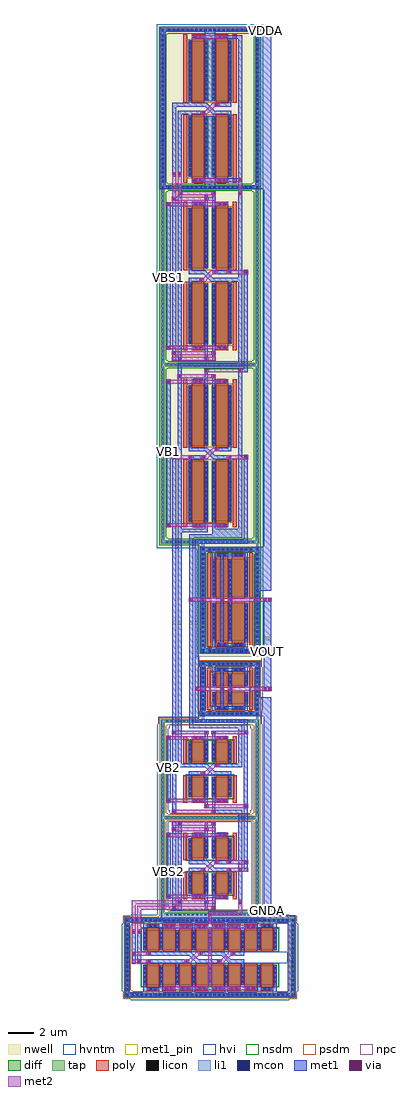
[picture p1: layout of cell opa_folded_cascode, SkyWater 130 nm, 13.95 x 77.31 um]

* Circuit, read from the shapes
.subckt opa_folded_cascode GNDA I_ONA I_ONB I_OPA I_OPB VB1 VB2 VBS1 VBS2 VDDA VOUT
XM1 GNDA GNDA GNDA GNDA sky130_fd_pr__nfet_g5v0d10v5 w=1.6 l=1 m=4
XM2 I_OPB monticelli_top_0/Bx GNDA GNDA sky130_fd_pr__nfet_g5v0d10v5 w=1.6 l=1 m=6
XM3 I_OPA monticelli_top_0/Bx GNDA GNDA sky130_fd_pr__nfet_g5v0d10v5 w=1.6 l=1 m=6
XM4 I_OPA VBS2 monticelli_top_0/B GNDA sky130_fd_pr__nfet_g5v0d10v5 w=1.6 l=1 m=2
XM5 I_OPB VBS2 monticelli_top_0/Bx GNDA sky130_fd_pr__nfet_g5v0d10v5 w=1.6 l=1 m=2
XM6 monticelli_top_0/B VB2 monticelli_top_0/A GNDA sky130_fd_pr__nfet_g5v0d10v5 w=1.6 l=1 m=2
XM7 monticelli_top_0/Bx VB2 monticelli_top_0/Ax GNDA sky130_fd_pr__nfet_g5v0d10v5 w=1.6 l=1 m=2
XM8 VOUT monticelli_top_0/B GNDA GNDA sky130_fd_pr__nfet_g5v0d10v5 w=1 l=1 m=4
XM9 monticelli_top_0/Ax VB1 monticelli_top_0/Bx VDDA sky130_fd_pr__pfet_g5v0d10v5 w=4.8 l=1 m=2
XM10 monticelli_top_0/A VB1 monticelli_top_0/B VDDA sky130_fd_pr__pfet_g5v0d10v5 w=4.8 l=1 m=2
XM11 I_ONA VBS1 monticelli_top_0/A VDDA sky130_fd_pr__pfet_g5v0d10v5 w=4.8 l=1 m=2
XM12 I_ONB VBS1 monticelli_top_0/Ax VDDA sky130_fd_pr__pfet_g5v0d10v5 w=4.8 l=1 m=2
XM13 VDDA monticelli_top_0/Ax I_ONA VDDA sky130_fd_pr__pfet_g5v0d10v5 w=4.8 l=1 m=2
XM14 VDDA monticelli_top_0/Ax I_ONB VDDA sky130_fd_pr__pfet_g5v0d10v5 w=4.8 l=1 m=2
XM15 VOUT monticelli_top_0/A VDDA VDDA sky130_fd_pr__pfet_g5v0d10v5 w=3 l=1 m=4
.ends

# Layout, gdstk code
from math import pi, radians
import gdstk
lib = gdstk.Library(unit=1e-6, precision=1e-09)
def R(c, l, rs):  # rectangles x0, y0, x1, y1
    for r in rs: c.add(gdstk.rectangle(r[:2], r[2:], *l))
def A(c, l, x, y, w, h, nx, ny, dx, dy):  # array of equal rectangles
    R(c, l, [(x+i*dx, y+j*dy, x+i*dx+w, y+j*dy+h) for i in range(nx) for j in range(ny)])
def P(c, l, *ps):  # polygons
    for p in ps: c.add(gdstk.Polygon(p, *l))
nwell = (64, 20)
diff = (65, 20)
tap = (65, 44)
poly = (66, 20)
licon = (66, 44)
li1 = (67, 20)
mcon = (67, 44)
met1_pin = (68, 16)
met1 = (68, 20)
via = (68, 44)
met2 = (69, 20)
hvi = (75, 20)
nsdm = (93, 44)
psdm = (94, 20)
npc = (95, 20)
hvntm = (125, 20)

sky130_fd_pr__pfet_g5v0d = lib.new_cell('sky130_fd_pr__pfet_g5v0d10v5_VQXVZH')
R(sky130_fd_pr__pfet_g5v0d, nwell, [(-1.615,-1.99,1.615,1.82)])
R(sky130_fd_pr__pfet_g5v0d, diff, [(-1.435,-1.68,1.435,1.32)])
R(sky130_fd_pr__pfet_g5v0d, poly, [(-1.145,-1.81,-0.145,1.805), (0.145,-1.81,1.145,1.805)])
A(sky130_fd_pr__pfet_g5v0d, licon, -1.375, -1.455, 0.17, 0.17, 3, 8, 1.29, 0.34)
R(sky130_fd_pr__pfet_g5v0d, licon, [(-0.9,1.555,-0.73,1.725), (-0.56,1.555,-0.39,1.725), (0.39,1.555,0.56,1.725), (0.73,1.555,0.9,1.725)])
A(sky130_fd_pr__pfet_g5v0d, li1, -1.375, -1.7, 0.17, 3.04, 3, 1, 1.29, 0)
R(sky130_fd_pr__pfet_g5v0d, li1, [(-1.145,1.555,-0.145,1.725), (0.145,1.555,1.145,1.725)])
A(sky130_fd_pr__pfet_g5v0d, mcon, -1.375, -1.525, 0.17, 0.17, 3, 8, 1.29, 0.36)
R(sky130_fd_pr__pfet_g5v0d, mcon, [(-0.91,1.555,-0.74,1.725), (-0.55,1.555,-0.38,1.725), (0.38,1.555,0.55,1.725), (0.74,1.555,0.91,1.725)])
A(sky130_fd_pr__pfet_g5v0d, met1, -1.405, -1.68, 0.23, 3, 3, 1, 1.29, 0)
R(sky130_fd_pr__pfet_g5v0d, met1, [(-1.02,1.525,-0.27,1.755), (0.27,1.525,1.02,1.755)])
R(sky130_fd_pr__pfet_g5v0d, hvi, [(-1.615,-1.99,1.615,-1.865), (-1.62,-1.865,1.62,1.505), (-1.615,1.505,1.615,1.82)])
R(sky130_fd_pr__pfet_g5v0d, psdm, [(-1.56,-1.805,1.56,1.445)])
R(sky130_fd_pr__pfet_g5v0d, npc, [(-1,1.455,-0.29,1.825), (0.29,1.455,1,1.825)])

out_pcell_2 = lib.new_cell('out_pcell_2')
R(out_pcell_2, tap, [(-0.94,0.06,-0.64,3.92), (3.36,0.06,3.66,3.92), (-0.94,3.92,3.66,4.22)])
R(out_pcell_2, poly, [(-0.45,0.165,-0.15,3.78), (2.87,0.165,3.17,3.78)])
R(out_pcell_2, li1, [(-0.875,0.06,-0.705,3.985), (3.425,0.06,3.595,3.985), (-0.875,3.985,3.595,4.155)])
R(out_pcell_2, met1, [(-0.99,0.06,-0.59,3.87), (3.31,0.06,3.71,3.87), (-0.045,2.935,0.185,3.87), (2.535,3.295,2.765,3.87), (1.09,3.5,1.63,3.73), (-0.99,3.87,3.71,4.27)])
R(out_pcell_2, hvi, [(-1.21,-0.49,-0.37,-0.015), (3.09,-0.49,3.93,-0.015), (-1.21,-0.015,-0.255,0.11), (2.975,-0.015,3.93,0.11), (-1.21,0.11,-0.26,3.48), (2.98,0.11,3.93,3.48), (-1.21,3.48,-0.255,3.735), (2.975,3.48,3.93,3.735), (-1.125,3.735,3.845,4.405)])
R(out_pcell_2, nsdm, [(-1.065,-0.065,-0.515,3.795), (3.235,-0.065,3.785,3.795), (-1.065,3.795,3.785,4.345)])
out_pcell_2.add(gdstk.Reference(sky130_fd_pr__pfet_g5v0d, (1.36,1.975)))

out_pcell = lib.new_cell('out_pcell')
R(out_pcell, nwell, [(2.765,-1.66,8.025,7.32)])
R(out_pcell, tap, [(3.46,-1.265,7.33,-1.095), (3.16,-0.965,3.33,6.625), (7.46,-0.965,7.63,6.625), (3.46,6.755,7.33,6.925)])
A(out_pcell, licon, 3.61, -1.265, 0.17, 0.17, 11, 2, 0.34, 8.02)
A(out_pcell, licon, 3.16, -0.825, 0.17, 0.17, 1, 22, 0, 0.34)
A(out_pcell, licon, 7.46, -0.825, 0.17, 0.17, 1, 22, 0, 0.34)
R(out_pcell, li1, [(3.16,-1.265,7.63,-1.095), (3.16,-1.095,3.33,6.755), (7.46,-1.095,7.63,6.755), (3.16,6.755,7.63,6.925)])
A(out_pcell, mcon, 3.69, -1.265, 0.17, 0.17, 10, 2, 0.36, 8.02)
A(out_pcell, mcon, 3.16, -0.855, 0.17, 0.17, 1, 21, 0, 0.36)
A(out_pcell, mcon, 7.46, -0.855, 0.17, 0.17, 1, 21, 0, 0.36)
R(out_pcell, mcon, [(3.16,-1.265,3.33,-1.095), (7.46,-1.265,7.63,-1.095), (3.16,6.755,3.33,6.925), (7.46,6.755,7.63,6.925)])
R(out_pcell, met1, [(3.16,-1.265,7.63,-1.095), (3.16,-1.095,3.33,6.755), (7.46,-1.095,7.63,6.755), (4.6,-0.84,4.9,6.5), (5.28,2.595,5.51,2.685), (5.215,2.685,5.575,2.985), (5.28,2.985,5.51,3.065), (3.16,6.755,7.63,6.925)])
R(out_pcell, via, [(4.675,2.76,4.825,2.91), (5.32,2.76,5.47,2.91)])
R(out_pcell, met2, [(3.045,2.685,4.93,2.985), (5.215,2.685,7.745,2.985)])
R(out_pcell, hvi, [(2.765,-1.66,8.025,7.32)])
R(out_pcell, nsdm, [(3.335,-1.39,7.455,-1.22), (3.165,-1.22,7.625,-1.09), (3.035,-1.09,7.755,-0.97), (3.035,-0.97,3.625,-0.84), (7.165,-0.97,7.755,-0.84), (3.035,-0.84,3.455,6.5), (7.335,-0.84,7.755,6.5), (3.035,6.5,3.625,6.63), (7.165,6.5,7.755,6.63), (3.035,6.63,7.755,6.75), (3.165,6.75,7.625,6.88), (3.335,6.88,7.455,7.05)])
R(out_pcell, psdm, [(3.835,2.72,6.955,2.94)])
out_pcell.add(gdstk.Reference(out_pcell_2, (4.035,2.89), x_reflection=True))
out_pcell.add(gdstk.Reference(out_pcell_2, (4.035,2.77)))

sky130_fd_pr__nfet_g5v0d = lib.new_cell('sky130_fd_pr__nfet_g5v0d10v5_7VNVKF')
R(sky130_fd_pr__nfet_g5v0d, diff, [(-1.435,-0.655,1.435,0.345)])
R(sky130_fd_pr__nfet_g5v0d, poly, [(-1.145,-0.785,-0.145,0.785), (0.145,-0.785,1.145,0.785)])
A(sky130_fd_pr__nfet_g5v0d, licon, -1.375, -0.58, 0.17, 0.17, 3, 3, 1.29, 0.34)
R(sky130_fd_pr__nfet_g5v0d, licon, [(-0.9,0.535,-0.73,0.705), (-0.56,0.535,-0.39,0.705), (0.39,0.535,0.56,0.705), (0.73,0.535,0.9,0.705)])
A(sky130_fd_pr__nfet_g5v0d, li1, -1.375, -0.675, 0.17, 1.04, 3, 1, 1.29, 0)
R(sky130_fd_pr__nfet_g5v0d, li1, [(-1.145,0.535,-0.145,0.705), (0.145,0.535,1.145,0.705)])
A(sky130_fd_pr__nfet_g5v0d, mcon, -1.375, -0.42, 0.17, 0.17, 3, 2, 1.29, 0.36)
R(sky130_fd_pr__nfet_g5v0d, mcon, [(-0.91,0.535,-0.74,0.705), (-0.55,0.535,-0.38,0.705), (0.38,0.535,0.55,0.705), (0.74,0.535,0.91,0.705)])
A(sky130_fd_pr__nfet_g5v0d, met1, -1.405, -0.655, 0.23, 1, 3, 1, 1.29, 0)
R(sky130_fd_pr__nfet_g5v0d, met1, [(-1.02,0.505,-0.27,0.735), (0.27,0.505,1.02,0.735)])
R(sky130_fd_pr__nfet_g5v0d, hvi, [(-1.62,-0.84,1.62,0.53)])
R(sky130_fd_pr__nfet_g5v0d, nsdm, [(-1.56,-0.78,1.56,0.47)])
R(sky130_fd_pr__nfet_g5v0d, npc, [(-1,0.435,-0.29,0.805), (0.29,0.435,1,0.805)])
R(sky130_fd_pr__nfet_g5v0d, hvntm, [(-1.62,-0.84,1.62,0.53)])

out_ncell_2 = lib.new_cell('out_ncell_2')
R(out_ncell_2, tap, [(-0.94,0.06,-0.64,1.89), (3.36,0.06,3.66,1.89), (-0.94,1.89,3.66,2.19)])
R(out_ncell_2, poly, [(-0.45,0.165,-0.15,1.735), (2.87,0.165,3.17,1.735)])
R(out_ncell_2, li1, [(-0.875,0.06,-0.705,1.955), (3.425,0.06,3.595,1.955), (-0.875,1.955,3.595,2.125)])
R(out_ncell_2, met1, [(-0.99,0.06,-0.59,1.84), (3.31,0.06,3.71,1.84), (-0.045,1.285,0.185,1.84), (2.535,1.295,2.765,1.84), (1.09,1.455,1.63,1.685), (-0.99,1.84,3.71,2.24)])
R(out_ncell_2, hvi, [(-1.21,-0.43,-0.37,0.11), (3.09,-0.43,3.93,0.11), (-1.21,0.11,-0.26,1.48), (2.98,0.11,3.93,1.48), (-1.21,1.48,3.93,1.705), (-1.125,1.705,3.845,2.375)])
R(out_ncell_2, psdm, [(-1.065,-0.065,-0.515,1.765), (3.235,-0.065,3.785,1.765), (-1.065,1.765,3.785,2.315)])
out_ncell_2.add(gdstk.Reference(sky130_fd_pr__nfet_g5v0d, (1.36,0.95)))

out_ncell = lib.new_cell('out_ncell')
R(out_ncell, tap, [(0.21,-2.075,4.08,-1.905), (-0.09,-1.775,0.08,1.755), (4.21,-1.775,4.38,1.755), (0.21,1.885,4.08,2.055)])
A(out_ncell, licon, 0.36, -2.075, 0.17, 0.17, 11, 2, 0.34, 3.96)
A(out_ncell, licon, -0.09, -1.625, 0.17, 0.17, 1, 10, 0, 0.34)
A(out_ncell, licon, 4.21, -1.625, 0.17, 0.17, 1, 10, 0, 0.34)
R(out_ncell, li1, [(-0.09,-2.075,4.38,-1.905), (-0.09,-1.905,0.08,1.885), (4.21,-1.905,4.38,1.885), (-0.09,1.885,4.38,2.055)])
A(out_ncell, mcon, -0.09, -2.075, 0.17, 0.17, 1, 12, 0, 0.36)
A(out_ncell, mcon, 0.44, -2.075, 0.17, 0.17, 10, 2, 0.36, 3.96)
A(out_ncell, mcon, 4.21, -2.075, 0.17, 0.17, 1, 12, 0, 0.36)
R(out_ncell, met1, [(-0.09,-2.075,4.38,-1.905), (-0.09,-1.905,0.08,1.885), (4.21,-1.905,4.38,1.885), (1.35,-1.635,1.65,1.615), (2.03,-0.245,2.26,-0.16), (1.965,-0.16,2.325,0.14), (2.03,0.14,2.26,0.225), (-0.09,1.885,4.38,2.055)])
R(out_ncell, via, [(1.425,-0.085,1.575,0.065), (2.07,-0.085,2.22,0.065)])
R(out_ncell, met2, [(-0.205,-0.16,1.68,0.14), (1.965,-0.16,4.495,0.14)])
R(out_ncell, hvi, [(-0.275,-2.26,4.565,-1.72), (-0.425,-1.72,0.565,-1.42), (3.725,-1.72,4.715,-1.42), (-0.425,-1.42,0.415,-0.06), (3.875,-1.42,4.715,-0.06), (-0.425,-0.06,4.715,0.04), (-0.425,0.04,0.415,1.4), (3.875,0.04,4.715,1.4), (-0.425,1.4,0.565,1.7), (3.725,1.4,4.715,1.7), (-0.275,1.7,4.565,2.24)])
R(out_ncell, nsdm, [(0.585,-0.12,3.705,0.1)])
R(out_ncell, psdm, [(0.085,-2.2,4.205,-2.03), (-0.085,-2.03,4.375,-1.9), (-0.215,-1.9,4.505,-1.78), (-0.215,-1.78,0.375,-1.65), (3.915,-1.78,4.505,-1.65), (-0.215,-1.65,0.205,1.63), (4.085,-1.65,4.505,1.63), (-0.215,1.63,0.375,1.76), (3.915,1.63,4.505,1.76), (-0.215,1.76,4.505,1.88), (-0.085,1.88,4.375,2.01), (0.085,2.01,4.205,2.18)])
R(out_ncell, hvntm, [(0.525,-0.06,3.765,0.04)])
out_ncell.add(gdstk.Reference(out_ncell_2, (0.785,0.05), x_reflection=True))
out_ncell.add(gdstk.Reference(out_ncell_2, (0.785,-0.07)))

opa_output_stage = lib.new_cell('opa_output_stage')
R(opa_output_stage, met1, [(5.105,2.11,5.705,9.525)])
R(opa_output_stage, via, [(5.17,2.215,5.32,2.365), (5.49,2.215,5.64,2.365), (5.17,9.27,5.32,9.42), (5.49,9.27,5.64,9.42)])
R(opa_output_stage, met2, [(4.805,2.14,5.735,2.44), (4.805,9.195,5.735,9.495)])
R(opa_output_stage, hvi, [(-0.03,4.605,4.94,4.85)])
opa_output_stage.add(gdstk.Reference(out_pcell, (-2.94,6.51)))
opa_output_stage.add(gdstk.Reference(out_ncell, (0.31,2.3)))

c_sky130_fd_pr__pfet_g5v0d = lib.new_cell('sky130_fd_pr__pfet_g5v0d10v5_X66K38')
R(c_sky130_fd_pr__pfet_g5v0d, nwell, [(-0.97,-2.89,0.97,2.72)])
R(c_sky130_fd_pr__pfet_g5v0d, diff, [(-0.79,-2.58,0.79,2.22)])
R(c_sky130_fd_pr__pfet_g5v0d, poly, [(-0.5,-2.71,0.5,2.705)])
A(c_sky130_fd_pr__pfet_g5v0d, licon, -0.73, -2.475, 0.17, 0.17, 1, 14, 0, 0.34)
A(c_sky130_fd_pr__pfet_g5v0d, licon, 0.56, -2.475, 0.17, 0.17, 1, 14, 0, 0.34)
R(c_sky130_fd_pr__pfet_g5v0d, licon, [(-0.255,2.455,-0.085,2.625), (0.085,2.455,0.255,2.625)])
R(c_sky130_fd_pr__pfet_g5v0d, li1, [(-0.73,-2.6,-0.56,2.24), (0.56,-2.6,0.73,2.24), (-0.5,2.455,0.5,2.625)])
A(c_sky130_fd_pr__pfet_g5v0d, mcon, -0.73, -2.425, 0.17, 0.17, 1, 13, 0, 0.36)
A(c_sky130_fd_pr__pfet_g5v0d, mcon, 0.56, -2.425, 0.17, 0.17, 1, 13, 0, 0.36)
R(c_sky130_fd_pr__pfet_g5v0d, mcon, [(-0.265,2.455,-0.095,2.625), (0.095,2.455,0.265,2.625)])
R(c_sky130_fd_pr__pfet_g5v0d, met1, [(-0.76,-2.58,-0.53,2.22), (0.53,-2.58,0.76,2.22), (-0.375,2.425,0.375,2.655)])
R(c_sky130_fd_pr__pfet_g5v0d, hvi, [(-0.97,-2.89,0.97,-2.765), (-0.975,-2.765,0.975,2.405), (-0.97,2.405,0.97,2.72)])
R(c_sky130_fd_pr__pfet_g5v0d, psdm, [(-0.915,-2.705,0.915,2.345)])
R(c_sky130_fd_pr__pfet_g5v0d, npc, [(-0.355,2.355,0.355,2.725)])

monticelli_pmos_2 = lib.new_cell('monticelli_pmos_2')
R(monticelli_pmos_2, tap, [(-1.87,-0.31,-1.57,6.565), (5.62,-0.31,5.92,6.565), (-1.87,6.565,5.92,6.865)])
R(monticelli_pmos_2, poly, [(-0.08,0.15,0.22,5.565), (3.83,0.15,4.13,5.565)])
R(monticelli_pmos_2, li1, [(-1.805,-0.31,-1.635,6.63), (5.685,-0.31,5.855,6.63), (-1.805,6.63,5.855,6.8)])
R(monticelli_pmos_2, met1, [(1.615,5.08,1.845,5.63), (2.205,5.08,2.435,5.63), (-1.4,5.215,-1.1,5.545), (0.74,5.215,1.43,5.515), (2.62,5.215,3.31,5.515)])
R(monticelli_pmos_2, via, [(-1.325,5.29,-1.175,5.44), (0.85,5.29,1,5.44), (1.17,5.29,1.32,5.44), (2.73,5.29,2.88,5.44), (3.05,5.29,3.2,5.44)])
R(monticelli_pmos_2, met2, [(-1.43,5.215,3.31,5.515)])
R(monticelli_pmos_2, hvi, [(-2.14,-0.495,-1.3,6.38), (5.35,-0.495,6.19,6.38), (-2.055,6.38,6.105,7.05)])
R(monticelli_pmos_2, nsdm, [(-1.995,-0.435,-1.445,6.44), (5.495,-0.435,6.045,6.44), (-1.995,6.44,6.045,6.99)])
R(monticelli_pmos_2, psdm, [(2,0.155,2.05,5.205)])
monticelli_pmos_2.add(gdstk.Reference(c_sky130_fd_pr__pfet_g5v0d, (2.965,2.86)))
monticelli_pmos_2.add(gdstk.Reference(c_sky130_fd_pr__pfet_g5v0d, (1.085,2.86)))

cross_pair = lib.new_cell('cross_pair')
R(cross_pair, met1, [(180.57,9.275,180.93,9.575), (181.53,9.275,182.015,9.45), (181.355,9.45,182.015,9.575), (181.23,9.575,181.355,9.875), (180.57,9.875,181.055,10.175), (181.655,9.875,182.015,10.175)])
P(cross_pair, met1, [(181.055,10.175),(181.055,9.875),(181.355,9.875)],
  [(180.93,9.875),(181.23,9.875),(181.23,9.575)],
  [(181.355,9.875),(181.355,9.575),(181.655,9.575)],
  [(181.23,9.575),(181.355,9.575),(181.355,9.45)],
  [(181.355,9.45),(181.53,9.45),(181.53,9.275)])
R(cross_pair, via, [(180.675,9.35,180.825,9.5), (181.76,9.95,181.91,10.1)])
R(cross_pair, met2, [(180.57,9.275,181.055,9.575), (181.23,9.575,181.355,9.875), (181.355,9.875,182.015,10), (181.53,10,182.015,10.175)])
P(cross_pair, met2, [(181.355,10),(181.53,10),(181.53,10.175)],
  [(181.23,9.875),(181.355,9.875),(181.355,10)],
  [(180.93,9.575),(181.23,9.575),(181.23,9.875)],
  [(181.355,9.575),(181.355,9.875),(181.655,9.875)],
  [(181.055,9.275),(181.055,9.575),(181.355,9.575)])

monticelli_pmos = lib.new_cell('monticelli_pmos')
R(monticelli_pmos, nwell, [(15.045,-1.175,23.495,13.835)])
R(monticelli_pmos, tap, [(15.74,-0.78,22.8,-0.61), (15.44,-0.48,15.61,13.14), (22.93,-0.48,23.1,13.14), (15.74,13.27,22.8,13.44)])
A(monticelli_pmos, licon, 15.785, -0.78, 0.17, 0.17, 21, 2, 0.34, 14.05)
A(monticelli_pmos, licon, 15.44, -0.385, 0.17, 0.17, 1, 40, 0, 0.34)
A(monticelli_pmos, licon, 22.93, -0.385, 0.17, 0.17, 1, 40, 0, 0.34)
R(monticelli_pmos, li1, [(15.74,-0.78,22.8,-0.61), (15.44,-0.48,15.61,13.14), (22.93,-0.48,23.1,13.14), (15.74,13.27,22.8,13.44)])
R(monticelli_pmos, met1, [(16.285,0.065,16.585,6.21), (16.725,0.065,19.09,0.365), (19.45,0.065,21.815,0.365), (21.955,0.065,22.255,6.21), (16.725,0.365,17.025,12.625), (18.86,0.365,19.09,0.395), (19.45,0.365,19.68,0.39), (21.515,0.365,21.815,13.065), (15.845,0.475,16.145,12.185), (20.74,5.68,20.97,5.88), (17.57,5.74,17.8,5.88), (17.57,5.88,18.55,6.18), (19.705,5.88,20.97,6.18), (17.57,6.48,18.625,6.78), (19.995,6.48,20.97,6.78), (17.57,6.78,17.8,6.92), (20.74,6.78,20.97,6.92), (18.86,12.27,19.09,12.735), (19.45,12.27,19.68,12.295), (19.385,12.295,19.745,12.595), (18.795,12.735,19.155,13.035)])
R(monticelli_pmos, via, [(16.36,5.955,16.51,6.105), (17.675,5.955,17.825,6.105), (20.715,5.955,20.865,6.105), (22.03,5.955,22.18,6.105), (16.8,12.37,16.95,12.52), (19.49,12.37,19.64,12.52), (18.9,12.81,19.05,12.96), (21.59,12.81,21.74,12.96)])
R(monticelli_pmos, met2, [(16.255,5.88,17.93,6.18), (20.61,5.88,22.285,6.18), (16.695,12.295,19.745,12.595), (18.795,12.735,21.845,13.035)])
R(monticelli_pmos, hvi, [(15.045,-1.175,23.495,13.835)])
R(monticelli_pmos, nsdm, [(15.615,-0.905,22.925,-0.735), (15.445,-0.735,23.095,-0.605), (15.315,-0.605,23.225,-0.485), (15.315,-0.485,15.905,-0.355), (22.635,-0.485,23.225,-0.355), (15.315,-0.355,15.735,13.015), (22.805,-0.355,23.225,13.015), (15.315,13.015,15.905,13.145), (22.635,13.015,23.225,13.145), (15.315,13.145,23.225,13.265), (15.445,13.265,23.095,13.395), (15.615,13.395,22.925,13.565)])
monticelli_pmos.add(gdstk.Reference(monticelli_pmos_2, (17.245,6.02), x_reflection=True))
monticelli_pmos.add(gdstk.Reference(monticelli_pmos_2, (17.245,6.64)))
monticelli_pmos.add(gdstk.Reference(cross_pair, (-162.02,-3.395)))

c_sky130_fd_pr__nfet_g5v0d = lib.new_cell('sky130_fd_pr__nfet_g5v0d10v5_YZ2SRG')
R(c_sky130_fd_pr__nfet_g5v0d, diff, [(-0.79,-0.955,0.79,0.645)])
R(c_sky130_fd_pr__nfet_g5v0d, poly, [(-0.5,-1.085,0.5,1.085)])
A(c_sky130_fd_pr__nfet_g5v0d, licon, -0.73, -0.75, 0.17, 0.17, 1, 4, 0, 0.34)
A(c_sky130_fd_pr__nfet_g5v0d, licon, 0.56, -0.75, 0.17, 0.17, 1, 4, 0, 0.34)
R(c_sky130_fd_pr__nfet_g5v0d, licon, [(-0.255,0.835,-0.085,1.005), (0.085,0.835,0.255,1.005)])
R(c_sky130_fd_pr__nfet_g5v0d, li1, [(-0.73,-0.975,-0.56,0.665), (0.56,-0.975,0.73,0.665), (-0.5,0.835,0.5,1.005)])
A(c_sky130_fd_pr__nfet_g5v0d, mcon, -0.73, -0.78, 0.17, 0.17, 1, 4, 0, 0.36)
A(c_sky130_fd_pr__nfet_g5v0d, mcon, 0.56, -0.78, 0.17, 0.17, 1, 4, 0, 0.36)
R(c_sky130_fd_pr__nfet_g5v0d, mcon, [(-0.265,0.835,-0.095,1.005), (0.095,0.835,0.265,1.005)])
R(c_sky130_fd_pr__nfet_g5v0d, met1, [(-0.76,-0.955,-0.53,0.645), (0.53,-0.955,0.76,0.645), (-0.375,0.805,0.375,1.035)])
R(c_sky130_fd_pr__nfet_g5v0d, hvi, [(-0.975,-1.14,0.975,0.83)])
R(c_sky130_fd_pr__nfet_g5v0d, nsdm, [(-0.915,-1.08,0.915,0.77)])
R(c_sky130_fd_pr__nfet_g5v0d, npc, [(-0.355,0.735,0.355,1.105)])
R(c_sky130_fd_pr__nfet_g5v0d, hvntm, [(-0.975,-1.14,0.975,0.83)])

monticelli_nmos_2 = lib.new_cell('monticelli_nmos_2')
R(monticelli_nmos_2, tap, [(-1.87,2.89,-1.57,6.565), (5.62,2.89,5.92,6.565), (-1.87,6.565,5.92,6.865)])
R(monticelli_nmos_2, poly, [(-0.08,3.35,0.22,5.52), (3.83,3.35,4.13,5.52)])
R(monticelli_nmos_2, li1, [(-1.805,2.89,-1.635,6.63), (5.685,2.89,5.855,6.63), (-1.805,6.63,5.855,6.8)])
R(monticelli_nmos_2, met1, [(-1.4,2.89,-1.1,5.545), (-0.96,2.89,-0.66,6.425), (4.71,2.89,5.01,6.425), (1.615,5.08,1.845,5.605), (2.205,5.08,2.435,5.605), (0.74,5.215,1.43,5.515), (2.62,5.215,3.31,5.515)])
R(monticelli_nmos_2, via, [(-1.325,5.29,-1.175,5.44), (0.85,5.29,1,5.44), (1.17,5.29,1.32,5.44), (2.73,5.29,2.88,5.44), (3.05,5.29,3.2,5.44)])
R(monticelli_nmos_2, met2, [(-1.43,5.215,3.31,5.515)])
R(monticelli_nmos_2, hvi, [(-2.14,2.705,-1.3,6.38), (5.35,2.705,6.19,6.38), (-2.055,6.38,6.105,7.05)])
R(monticelli_nmos_2, nsdm, [(2,3.355,2.05,5.205)])
R(monticelli_nmos_2, psdm, [(-1.995,2.765,-1.445,6.44), (5.495,2.765,6.045,6.44), (-1.995,6.44,6.045,6.99)])
monticelli_nmos_2.add(gdstk.Reference(c_sky130_fd_pr__nfet_g5v0d, (2.965,4.435)))
monticelli_nmos_2.add(gdstk.Reference(c_sky130_fd_pr__nfet_g5v0d, (1.085,4.435)))

monticelli_nmos = lib.new_cell('monticelli_nmos')
R(monticelli_nmos, tap, [(0.315,-3.93,7.375,-3.76), (0.015,-3.63,0.185,3.59), (7.505,-3.63,7.675,3.59), (0.315,3.72,7.375,3.89)])
A(monticelli_nmos, licon, 0.36, -3.93, 0.17, 0.17, 21, 2, 0.34, 7.65)
A(monticelli_nmos, licon, 0.015, -3.505, 0.17, 0.17, 1, 21, 0, 0.34)
A(monticelli_nmos, licon, 7.505, -3.505, 0.17, 0.17, 1, 21, 0, 0.34)
R(monticelli_nmos, li1, [(0.315,-3.93,7.375,-3.76), (0.015,-3.63,0.185,3.59), (7.505,-3.63,7.675,3.59), (0.315,3.72,7.375,3.89)])
R(monticelli_nmos, met1, [(0.86,-3.525,1.16,-3.225), (3.96,-3.525,4.32,-3.225), (4.025,-3.225,4.255,-2.49), (3.37,-3.085,3.73,-2.785), (6.53,-3.085,6.83,-2.785), (3.435,-2.785,3.665,-2.505), (2.145,-0.61,2.375,-0.47), (5.315,-0.61,5.545,-0.47), (2.145,-0.47,3.125,-0.17), (4.57,-0.47,5.545,-0.17), (1.3,0.13,3.125,0.43), (4.57,0.13,6.39,0.43), (1.3,0.43,1.6,3.515), (2.145,0.43,2.375,0.57), (5.315,0.43,5.545,0.57), (6.09,0.43,6.39,3.515), (4.025,2.685,4.255,2.745), (3.435,2.695,3.665,2.745), (0.86,2.745,1.16,3.045), (3.37,2.745,3.73,3.045), (3.96,2.745,4.32,3.045), (6.53,2.745,6.83,3.045)])
R(monticelli_nmos, via, [(0.935,-3.45,1.085,-3.3), (4.065,-3.45,4.215,-3.3), (3.475,-3.01,3.625,-2.86), (6.605,-3.01,6.755,-2.86), (0.935,2.82,1.085,2.97), (3.475,2.82,3.625,2.97), (4.065,2.82,4.215,2.97), (6.605,2.82,6.755,2.97)])
R(monticelli_nmos, met2, [(0.83,-3.525,4.32,-3.225), (3.37,-3.085,6.86,-2.785), (0.83,2.745,3.73,3.045), (3.96,2.745,6.86,3.045)])
R(monticelli_nmos, hvi, [(-0.17,-4.115,7.86,-3.575), (-0.32,-3.575,0.67,-3.275), (7.02,-3.575,8.01,-3.275), (-0.32,-3.275,0.52,3.235), (7.17,-3.275,8.01,3.235), (-0.32,3.235,0.67,3.535), (7.02,3.235,8.01,3.535), (-0.17,3.535,7.86,4.075)])
R(monticelli_nmos, psdm, [(0.19,-4.055,7.5,-3.885), (0.02,-3.885,7.67,-3.755), (-0.11,-3.755,7.8,-3.635), (-0.11,-3.635,0.48,-3.505), (7.21,-3.635,7.8,-3.505), (-0.11,-3.505,0.31,3.465), (7.38,-3.505,7.8,3.465), (-0.11,3.465,0.48,3.595), (7.21,3.465,7.8,3.595), (-0.11,3.595,7.8,3.715), (0.02,3.715,7.67,3.845), (0.19,3.845,7.5,4.015)])
monticelli_nmos.add(gdstk.Reference(monticelli_nmos_2, (1.82,2.87), x_reflection=True))
monticelli_nmos.add(gdstk.Reference(monticelli_nmos_2, (1.82,-2.91)))
monticelli_nmos.add(gdstk.Reference(cross_pair, (-177.445,-9.745)))

monticelli_top = lib.new_cell('monticelli_top')
R(monticelli_top, li1, [(7.775,-13.855,7.945,-13.285), (3.475,-13.685,3.645,-13.28), (3.475,-0.075,3.65,0.325), (7.77,-0.075,7.945,0.325)])
R(monticelli_top, met1_pin, [(0.69,-18.005,0.99,-17.705), (3.41,-13.35,3.71,-13.05), (8.495,-7.365,8.795,-7.065), (1.13,-6.145,1.43,-5.845), (1.57,-6.145,1.87,-5.845), (2.48,-6.145,2.78,-5.845), (2.92,-6.145,3.22,-5.845), (3.41,-0.31,3.71,-0.01), (0.69,7,0.99,7.3)])
R(monticelli_top, met1, [(2.48,-14.36,6.66,-14.06), (1.13,-14.06,1.43,1.17), (1.57,-14.06,1.87,1.17), (2.48,-14.06,2.78,0.73), (6.8,-14.06,7.1,-13.92), (2.92,-13.92,7.1,-13.62), (2.92,-13.62,3.22,0.29), (2.92,0.29,7.1,0.59), (6.8,0.59,7.1,1.56), (2.48,0.73,6.66,1.03), (4.295,1.03,6.66,1.17), (6.36,1.17,6.66,1.56)])
R(monticelli_top, via, [(2.995,-11.295,3.145,-11.145), (2.555,-4.24,2.705,-4.09)])
R(monticelli_top, met2, [(2.89,-11.37,3.36,-11.07), (2.45,-4.315,3.41,-4.015)])
R(monticelli_top, nsdm, [(3.285,0.115,8.135,0.135)])
R(monticelli_top, psdm, [(3.285,-13.495,8.135,-13.475)])
monticelli_top.add(gdstk.Reference(opa_output_stage, (3.255,-13.51)))
monticelli_top.add(gdstk.Reference(monticelli_pmos, (-15.155,1.105)))
monticelli_top.add(gdstk.Reference(monticelli_nmos, (0.27,-17.575)))
monticelli_top.add(gdstk.Label('VB1', (0.84,7.15), layer=68, texttype=5))
monticelli_top.add(gdstk.Label('VB2', (0.84,-17.855), layer=68, texttype=5))
monticelli_top.add(gdstk.Label('A', (2.63,-5.995), layer=68, texttype=5))
monticelli_top.add(gdstk.Label('B', (3.07,-5.995), layer=68, texttype=5))
monticelli_top.add(gdstk.Label('Ax', (1.72,-5.995), layer=68, texttype=5))
monticelli_top.add(gdstk.Label('Bx', (1.28,-5.995), layer=68, texttype=5))
monticelli_top.add(gdstk.Label('OUT', (8.645,-7.215), layer=68, texttype=5))
monticelli_top.add(gdstk.Label('VDDA', (3.56,-0.16), layer=68, texttype=5))
monticelli_top.add(gdstk.Label('GNDA', (3.56,-13.2), layer=68, texttype=5))

fc_pmos2_2 = lib.new_cell('fc_pmos2_2')
R(fc_pmos2_2, tap, [(-1.87,-0.31,-1.57,6.565), (5.62,-0.31,5.92,6.565), (-1.87,6.565,5.92,6.865)])
R(fc_pmos2_2, poly, [(-0.08,0.15,0.22,5.565), (3.83,0.15,4.13,5.565)])
R(fc_pmos2_2, li1, [(-1.805,-0.31,-1.635,6.63), (5.685,-0.31,5.855,6.63), (-1.805,6.63,5.855,6.8)])
R(fc_pmos2_2, met1, [(-1.4,-0.31,-1.1,5.545), (-0.96,-0.31,-0.66,6.425), (-0.52,-0.31,-0.22,6.425), (1.615,5.08,1.845,5.7), (2.205,5.08,2.435,5.7), (0.71,5.215,1.46,5.515), (2.62,5.215,3.31,5.515)])
R(fc_pmos2_2, via, [(-1.325,5.29,-1.175,5.44), (0.85,5.29,1,5.44), (1.17,5.29,1.32,5.44), (2.73,5.29,2.88,5.44), (3.05,5.29,3.2,5.44)])
R(fc_pmos2_2, met2, [(-1.43,5.215,3.31,5.515), (-0.115,5.655,2.5,5.955), (-0.115,6.095,2.5,6.395)])
R(fc_pmos2_2, hvi, [(-2.14,-0.495,-1.3,6.38), (5.35,-0.495,6.19,6.38), (-2.055,6.38,6.105,7.05)])
R(fc_pmos2_2, nsdm, [(-1.995,-0.435,-1.445,6.44), (5.495,-0.435,6.045,6.44), (-1.995,6.44,6.045,6.99)])
R(fc_pmos2_2, psdm, [(2,0.155,2.05,5.205)])
fc_pmos2_2.add(gdstk.Reference(c_sky130_fd_pr__pfet_g5v0d, (2.965,2.86)))
fc_pmos2_2.add(gdstk.Reference(c_sky130_fd_pr__pfet_g5v0d, (1.085,2.86)))

fc_pmos2 = lib.new_cell('fc_pmos2')
R(fc_pmos2, nwell, [(11.335,-5.5,19.785,9.51)])
R(fc_pmos2, tap, [(12.03,-5.105,19.09,-4.935), (11.73,-4.805,11.9,8.815), (19.22,-4.805,19.39,8.815), (12.03,8.945,19.09,9.115)])
A(fc_pmos2, licon, 12.075, -5.105, 0.17, 0.17, 21, 2, 0.34, 14.05)
A(fc_pmos2, licon, 11.73, -4.71, 0.17, 0.17, 1, 40, 0, 0.34)
A(fc_pmos2, licon, 19.22, -4.71, 0.17, 0.17, 1, 40, 0, 0.34)
R(fc_pmos2, li1, [(12.03,-5.105,19.09,-4.935), (11.73,-4.805,11.9,8.815), (19.22,-4.805,19.39,8.815), (12.03,8.945,19.09,9.115)])
R(fc_pmos2, met1, [(17.805,-4.73,18.105,1.555), (18.245,-4.73,18.545,2.485), (13.015,-4.7,13.315,-4.4), (15.085,-4.7,15.445,-4.4), (15.74,-4.7,15.97,-4.26), (15.15,-4.4,15.38,-3.98), (12.575,-4.26,12.875,-3.96), (15.675,-4.26,16.035,-3.96), (15.74,-3.96,15.97,-3.935), (13.86,1.415,14.09,1.555), (17.03,1.415,17.26,1.555), (13.86,1.555,14.69,1.855), (16.135,1.555,18.105,1.855), (17.805,1.855,18.105,8.74), (13.86,2.155,14.69,2.455), (16.135,2.155,17.26,2.455), (13.86,2.455,14.09,2.595), (17.03,2.455,17.26,2.595), (12.575,7.97,12.875,8.27), (15.085,7.97,15.445,8.27), (15.74,8.015,15.97,8.41), (15.15,8.27,15.38,8.41), (13.045,8.41,13.375,8.71), (15.675,8.41,16.035,8.71)])
R(fc_pmos2, via, [(13.09,-4.625,13.24,-4.475), (15.19,-4.625,15.34,-4.475), (12.65,-4.185,12.8,-4.035), (15.78,-4.185,15.93,-4.035), (17.005,2.23,17.155,2.38), (18.32,2.23,18.47,2.38), (12.65,8.045,12.8,8.195), (15.19,8.045,15.34,8.195), (13.12,8.485,13.27,8.635), (15.78,8.485,15.93,8.635)])
R(fc_pmos2, met2, [(12.545,-4.7,13.42,-4.4), (15.115,-4.7,15.415,-4.4), (12.545,-4.26,13.42,-3.96), (15.705,-4.26,16.005,-3.96), (16.9,2.155,18.575,2.455), (12.545,7.97,15.415,8.27), (13.015,8.41,13.535,8.71), (15.705,8.41,16.005,8.71)])
R(fc_pmos2, hvi, [(11.335,-5.5,19.785,9.51)])
R(fc_pmos2, nsdm, [(11.905,-5.23,19.215,-5.06), (11.735,-5.06,19.385,-4.93), (11.605,-4.93,19.515,-4.81), (11.605,-4.81,12.195,-4.68), (18.925,-4.81,19.515,-4.68), (11.605,-4.68,12.025,8.69), (19.095,-4.68,19.515,8.69), (11.605,8.69,12.195,8.82), (18.925,8.69,19.515,8.82), (11.605,8.82,19.515,8.94), (11.735,8.94,19.385,9.07), (11.905,9.07,19.215,9.24)])
fc_pmos2.add(gdstk.Reference(fc_pmos2_2, (13.535,1.695), x_reflection=True))
fc_pmos2.add(gdstk.Reference(fc_pmos2_2, (13.535,2.315)))
fc_pmos2.add(gdstk.Reference(cross_pair, (-165.88,-7.72)))

fc_pmos1_2 = lib.new_cell('fc_pmos1_2')
R(fc_pmos1_2, tap, [(-1.87,-0.31,-1.57,5.765), (5.62,-0.31,5.92,5.765), (-1.87,5.765,5.92,6.065)])
R(fc_pmos1_2, poly, [(-0.08,0.15,0.22,5.565), (3.83,0.15,4.13,5.565)])
R(fc_pmos1_2, li1, [(-1.805,-0.31,-1.635,5.83), (5.685,-0.31,5.855,5.83), (-1.805,5.83,5.855,6)])
R(fc_pmos1_2, met1, [(-1.87,-0.31,-1.57,5.765), (-0.52,-0.31,-0.22,5.22), (5.62,-0.31,5.92,5.765), (1.615,0.28,2.435,5.765), (0.71,5.215,1.43,5.22), (2.62,5.215,3.31,5.515), (-0.52,5.22,1.43,5.515), (-1.87,5.765,5.92,6.065)])
R(fc_pmos1_2, via, [(0.85,5.29,1,5.44), (1.17,5.29,1.32,5.44), (2.73,5.29,2.88,5.44), (3.05,5.29,3.2,5.44)])
R(fc_pmos1_2, met2, [(0.71,5.215,3.31,5.515)])
R(fc_pmos1_2, hvi, [(-2.14,-0.495,-1.3,5.58), (5.35,-0.495,6.19,5.58), (0.11,5.265,0.115,5.58), (3.935,5.265,3.94,5.58), (-2.055,5.58,6.105,6.25)])
R(fc_pmos1_2, nsdm, [(-1.995,-0.435,-1.445,5.64), (5.495,-0.435,6.045,5.64), (-1.995,5.64,6.045,6.19)])
R(fc_pmos1_2, psdm, [(2,0.155,2.05,5.205)])
fc_pmos1_2.add(gdstk.Reference(c_sky130_fd_pr__pfet_g5v0d, (2.965,2.86)))
fc_pmos1_2.add(gdstk.Reference(c_sky130_fd_pr__pfet_g5v0d, (1.085,2.86)))

fc_pmos1 = lib.new_cell('fc_pmos1')
R(fc_pmos1, nwell, [(0.005,-6.45,8.455,6.96)])
R(fc_pmos1, tap, [(0.7,-6.055,7.76,-5.885), (0.4,-5.755,0.57,6.265), (7.89,-5.755,8.06,6.265), (0.7,6.395,7.76,6.565)])
A(fc_pmos1, licon, 0.745, -6.055, 0.17, 0.17, 21, 2, 0.34, 12.45)
A(fc_pmos1, licon, 0.4, -5.61, 0.17, 0.17, 1, 35, 0, 0.34)
A(fc_pmos1, licon, 7.89, -5.61, 0.17, 0.17, 1, 35, 0, 0.34)
R(fc_pmos1, li1, [(0.4,-6.055,8.06,-5.885), (0.4,-5.885,0.57,6.395), (7.89,-5.885,8.06,6.395), (0.4,6.395,8.06,6.565)])
A(fc_pmos1, mcon, 0.905, -6.055, 0.17, 0.17, 19, 2, 0.36, 12.45)
A(fc_pmos1, mcon, 0.4, -5.59, 0.17, 0.17, 1, 33, 0, 0.36)
A(fc_pmos1, mcon, 7.89, -5.59, 0.17, 0.17, 1, 33, 0, 0.36)
R(fc_pmos1, mcon, [(0.4,-6.055,0.57,-5.885), (7.89,-6.055,8.06,-5.885), (0.4,6.395,0.57,6.565), (7.89,6.395,8.06,6.565)])
R(fc_pmos1, met1, [(0.4,-6.055,8.06,-5.885), (0.4,-5.885,0.57,6.395), (7.89,-5.885,8.06,6.395), (1.245,-5.135,1.545,0.405), (1.685,-5.135,1.985,-0.195), (2.53,-0.335,2.76,-0.195), (5.7,-0.335,5.93,-0.195), (1.685,-0.195,3.505,0.105), (4.95,-0.195,5.93,0.105), (1.245,0.405,3.505,0.705), (4.945,0.405,5.93,0.705), (2.53,0.705,2.76,0.845), (5.7,0.705,5.93,0.845), (0.4,6.395,8.06,6.565)])
R(fc_pmos1, via, [(1.32,-5.03,1.47,-4.88), (1.76,-5.03,1.91,-4.88)])
R(fc_pmos1, met2, [(1.245,-6.12,1.545,-4.775), (1.685,-6.12,1.985,-4.775)])
R(fc_pmos1, hvi, [(0.005,-6.45,8.455,6.96)])
R(fc_pmos1, nsdm, [(0.575,-6.18,7.885,-6.01), (0.405,-6.01,8.055,-5.88), (0.275,-5.88,8.185,-5.76), (0.275,-5.76,0.865,-5.63), (7.595,-5.76,8.185,-5.63), (0.275,-5.63,0.695,6.14), (7.765,-5.63,8.185,6.14), (0.275,6.14,0.865,6.27), (7.595,6.14,8.185,6.27), (0.275,6.27,8.185,6.39), (0.405,6.39,8.055,6.52), (0.575,6.52,7.885,6.69)])
fc_pmos1.add(gdstk.Reference(fc_pmos1_2, (6.255,-0.055), rotation=pi))
fc_pmos1.add(gdstk.Reference(fc_pmos1_2, (6.255,0.565), rotation=pi, x_reflection=True))
fc_pmos1.add(gdstk.Reference(cross_pair, (185.52,9.98), rotation=pi))

fc_pcell = lib.new_cell('fc_pcell')
R(fc_pcell, met1, [(6.45,-0.195,6.75,0.105), (0.21,0.275,0.71,12.725), (7.8,0.275,8.2,12.725), (6.45,0.855,6.75,1.155), (0.21,12.725,8.2,13.125)])
R(fc_pcell, via, [(6.525,-0.12,6.675,0.03), (6.525,0.93,6.675,1.08)])
R(fc_pcell, met2, [(1.22,-0.335,1.52,0.275), (6.45,-0.225,6.75,1.185), (1.66,0.105,1.96,0.715)])
fc_pcell.add(gdstk.Reference(fc_pmos2, (-11.355,-8.605)))
fc_pcell.add(gdstk.Reference(fc_pmos1, (-0.025,6.395)))

fc_ncell2_2 = lib.new_cell('fc_ncell2_2')
R(fc_ncell2_2, tap, [(-2.2,-0.41,-1.9,3.265), (5.29,-0.41,5.59,3.265), (-2.2,3.265,5.59,3.565)])
R(fc_ncell2_2, poly, [(-0.41,0.05,-0.11,2.22), (3.5,0.05,3.8,2.22)])
R(fc_ncell2_2, li1, [(-2.135,-0.41,-1.965,3.33), (5.355,-0.41,5.525,3.33), (-2.135,3.33,5.525,3.5)])
R(fc_ncell2_2, met1, [(-1.73,-0.41,-1.43,2.2), (-1.29,-0.41,-0.99,3.125), (-0.85,-0.41,-0.55,3.125), (1.285,1.78,1.515,2.37), (1.875,1.78,2.105,2.37), (0.44,1.84,1.1,2.17), (2.29,1.87,2.98,2.17), (2.29,2.17,2.95,2.2)])
R(fc_ncell2_2, via, [(-1.655,1.945,-1.505,2.095), (0.52,1.945,0.67,2.095), (0.84,1.945,0.99,2.095), (2.4,1.945,2.55,2.095), (2.72,1.945,2.87,2.095)])
R(fc_ncell2_2, met2, [(-1.76,1.87,2.98,2.17)])
R(fc_ncell2_2, hvi, [(-2.47,-0.595,-1.63,3.08), (5.02,-0.595,5.86,3.08), (-2.385,3.08,5.775,3.75)])
R(fc_ncell2_2, nsdm, [(1.67,0.055,1.72,1.905)])
R(fc_ncell2_2, psdm, [(-2.325,-0.535,-1.775,3.14), (5.165,-0.535,5.715,3.14), (-2.325,3.14,5.715,3.69)])
fc_ncell2_2.add(gdstk.Reference(c_sky130_fd_pr__nfet_g5v0d, (2.635,1.135)))
fc_ncell2_2.add(gdstk.Reference(c_sky130_fd_pr__nfet_g5v0d, (0.755,1.135)))

fc_ncell2 = lib.new_cell('fc_ncell2')
R(fc_ncell2, tap, [(0.32,-3.985,7.38,-3.815), (0.02,-3.685,0.19,3.535), (7.51,-3.685,7.68,3.535)])
A(fc_ncell2, licon, 0.365, -3.985, 0.17, 0.17, 21, 1, 0.34, 0)
A(fc_ncell2, licon, 0.02, -3.56, 0.17, 0.17, 1, 21, 0, 0.34)
A(fc_ncell2, licon, 7.51, -3.56, 0.17, 0.17, 1, 21, 0, 0.34)
R(fc_ncell2, li1, [(0.32,-3.985,7.38,-3.815), (0.02,-3.685,0.19,3.535), (7.51,-3.685,7.68,3.535)])
R(fc_ncell2, met1, [(0.865,-3.535,1.165,-3.235), (3.44,-3.535,3.67,-3.095), (3.965,-3.535,4.325,-3.235), (4.03,-3.235,4.26,-2.63), (1.305,-3.095,1.605,-2.795), (3.375,-3.095,3.735,-2.795), (2.15,-0.665,2.38,-0.525), (5.32,-0.665,5.55,-0.525), (6.095,-0.555,6.395,3.46), (6.535,-0.555,6.835,3.46), (2.15,-0.525,3.13,-0.225), (4.575,-0.525,5.55,-0.225), (2.15,0.075,3.13,0.375), (4.575,0.075,5.55,0.375), (2.15,0.375,2.38,0.515), (5.32,0.375,5.55,0.515), (3.44,2.68,3.67,2.685), (0.865,2.685,1.165,2.985), (3.375,2.685,3.735,2.985), (4.03,2.705,4.26,3.125), (3.44,2.985,3.67,3.425), (1.305,3.125,1.605,3.425), (3.965,3.125,4.325,3.425)])
R(fc_ncell2, via, [(0.94,-3.46,1.09,-3.31), (4.07,-3.46,4.22,-3.31), (1.38,-3.02,1.53,-2.87), (3.48,-3.02,3.63,-2.87), (5.295,-0.45,5.445,-0.3), (6.17,-0.45,6.32,-0.3), (5.295,0.15,5.445,0.3), (6.61,0.15,6.76,0.3), (0.94,2.76,1.09,2.91), (3.48,2.76,3.63,2.91), (1.38,3.2,1.53,3.35), (4.07,3.2,4.22,3.35)])
R(fc_ncell2, met2, [(0.835,-3.535,4.325,-3.235), (0.835,-3.095,4.325,-2.795), (5.19,-0.525,6.865,-0.225), (5.19,0.075,6.865,0.375), (0.835,2.685,4.325,2.985), (0.835,3.125,4.325,3.425)])
R(fc_ncell2, hvi, [(-0.165,-4.17,7.865,-3.63), (-0.315,-3.63,0.675,-3.33), (7.025,-3.63,8.015,-3.33), (-0.315,-3.33,0.525,3.72), (7.175,-3.33,8.015,3.72)])
R(fc_ncell2, psdm, [(0.195,-4.11,7.505,-3.94), (0.025,-3.94,7.675,-3.81), (-0.105,-3.81,7.805,-3.69), (-0.105,-3.69,0.485,-3.56), (7.215,-3.69,7.805,-3.56), (-0.105,-3.56,0.315,3.66), (7.385,-3.56,7.805,3.66)])
fc_ncell2.add(gdstk.Reference(fc_ncell2_2, (2.155,-0.485), x_reflection=True))
fc_ncell2.add(gdstk.Reference(fc_ncell2_2, (2.155,0.335)))
fc_ncell2.add(gdstk.Reference(cross_pair, (-177.44,-9.8)))

c_sky130_fd_pr__nfet_g5v0d_ = lib.new_cell('sky130_fd_pr__nfet_g5v0d10v5_VZ2S5U')
R(c_sky130_fd_pr__nfet_g5v0d_, diff, [(-2.725,-0.955,2.725,0.645)])
A(c_sky130_fd_pr__nfet_g5v0d_, poly, -2.435, -1.085, 1, 2.17, 4, 1, 1.29, 0)
A(c_sky130_fd_pr__nfet_g5v0d_, licon, -2.665, -0.75, 0.17, 0.17, 5, 4, 1.29, 0.34)
R(c_sky130_fd_pr__nfet_g5v0d_, licon, [(-2.19,0.835,-2.02,1.005), (-1.85,0.835,-1.68,1.005), (-0.9,0.835,-0.73,1.005), (-0.56,0.835,-0.39,1.005), (0.39,0.835,0.56,1.005), (0.73,0.835,0.9,1.005), (1.68,0.835,1.85,1.005), (2.02,0.835,2.19,1.005)])
A(c_sky130_fd_pr__nfet_g5v0d_, li1, -2.665, -0.975, 0.17, 1.64, 5, 1, 1.29, 0)
A(c_sky130_fd_pr__nfet_g5v0d_, li1, -2.435, 0.835, 1, 0.17, 4, 1, 1.29, 0)
A(c_sky130_fd_pr__nfet_g5v0d_, mcon, -2.665, -0.78, 0.17, 0.17, 5, 4, 1.29, 0.36)
R(c_sky130_fd_pr__nfet_g5v0d_, mcon, [(-2.2,0.835,-2.03,1.005), (-1.84,0.835,-1.67,1.005), (-0.91,0.835,-0.74,1.005), (-0.55,0.835,-0.38,1.005), (0.38,0.835,0.55,1.005), (0.74,0.835,0.91,1.005), (1.67,0.835,1.84,1.005), (2.03,0.835,2.2,1.005)])
A(c_sky130_fd_pr__nfet_g5v0d_, met1, -2.695, -0.955, 0.23, 1.6, 5, 1, 1.29, 0)
A(c_sky130_fd_pr__nfet_g5v0d_, met1, -2.31, 0.805, 0.75, 0.23, 4, 1, 1.29, 0)
R(c_sky130_fd_pr__nfet_g5v0d_, hvi, [(-2.91,-1.14,2.91,0.83)])
R(c_sky130_fd_pr__nfet_g5v0d_, nsdm, [(-2.85,-1.08,2.85,0.77)])
A(c_sky130_fd_pr__nfet_g5v0d_, npc, -2.29, 0.735, 0.71, 0.37, 4, 1, 1.29, 0)
R(c_sky130_fd_pr__nfet_g5v0d_, hvntm, [(-2.91,-1.14,2.91,0.83)])

fc_ncell1_4 = lib.new_cell('fc_ncell1_4')
R(fc_ncell1_4, tap, [(6.5,-0.46,6.8,2.34), (0.095,2.34,6.8,2.64)])
R(fc_ncell1_4, li1, [(6.565,-0.46,6.735,2.405), (0.095,2.405,6.735,2.575)])
A(fc_ncell1_4, met1, 0.395, 1.82, 0.69, 0.3, 3, 1, 1.29, 0)
R(fc_ncell1_4, met1, [(6.45,-0.46,6.85,2.29), (1.27,1.73,1.5,2.29), (3.85,1.73,4.08,1.89), (5.14,1.73,5.37,1.89), (3.85,1.89,5.37,2.29), (0.095,2.29,6.85,2.69)])
R(fc_ncell1_4, via, [(0.505,1.895,0.655,2.045), (0.825,1.895,0.975,2.045), (1.795,1.895,1.945,2.045), (2.115,1.895,2.265,2.045), (3.085,1.895,3.235,2.045), (3.405,1.895,3.555,2.045)])
R(fc_ncell1_4, met2, [(0.095,1.82,3.665,2.12)])
R(fc_ncell1_4, hvi, [(6.23,-0.645,7.07,-0.055), (5.585,-0.055,7.07,1.915), (-0.09,1.915,7.07,2.155), (-0.09,2.155,6.985,2.825), (-0.09,2.825,6.37,2.91)])
R(fc_ncell1_4, psdm, [(6.375,-0.585,6.925,2.215), (-0.03,2.215,6.925,2.765)])
fc_ncell1_4.add(gdstk.Reference(c_sky130_fd_pr__nfet_g5v0d_, (2.675,1.085)))

fc_ncell1_half = lib.new_cell('fc_ncell1_half')
fc_ncell1_half.add(gdstk.Reference(fc_ncell1_4, (0.195,0), rotation=pi, x_reflection=True))
fc_ncell1_half.add(gdstk.Reference(fc_ncell1_4, (0.005,0)))

fc_ncell1 = lib.new_cell('fc_ncell1')
R(fc_ncell1, tap, [(1.015,-3.495,13.695,-3.325), (0.715,-3.195,0.885,2.275), (13.825,-3.195,13.995,2.275), (1.015,2.405,13.695,2.575)])
A(fc_ncell1, licon, 1.15, -3.495, 0.17, 0.17, 37, 2, 0.34, 5.9)
A(fc_ncell1, licon, 0.715, -3.095, 0.17, 0.17, 1, 16, 0, 0.34)
A(fc_ncell1, licon, 13.825, -3.095, 0.17, 0.17, 1, 16, 0, 0.34)
R(fc_ncell1, li1, [(0.715,-3.495,13.995,-3.325), (0.715,-3.325,0.885,2.405), (13.825,-3.325,13.995,2.405), (0.715,2.405,13.995,2.575)])
A(fc_ncell1, mcon, 1.15, -3.495, 0.17, 0.17, 35, 2, 0.36, 5.9)
A(fc_ncell1, mcon, 0.715, -3.065, 0.17, 0.17, 1, 15, 0, 0.36)
A(fc_ncell1, mcon, 13.825, -3.065, 0.17, 0.17, 1, 15, 0, 0.36)
R(fc_ncell1, mcon, [(0.715,-3.495,0.885,-3.325), (13.825,-3.495,13.995,-3.325), (0.715,2.405,0.885,2.575), (13.825,2.405,13.995,2.575)])
A(fc_ncell1, met1, 4.66, -1.05, 0.23, 0.14, 3, 2, 2.58, 1.04)
R(fc_ncell1, met1, [(0.715,-3.495,13.995,-3.325), (0.715,-3.325,0.885,2.405), (13.825,-3.325,13.995,2.405), (1.17,-0.94,1.47,1.73), (1.61,-0.94,1.91,1.73), (2.31,-0.91,5.335,-0.61), (6.78,-0.91,7.915,-0.61), (9.36,-0.91,10.05,-0.61), (2.31,-0.31,5.335,-0.01), (6.78,-0.31,7.915,-0.01), (9.36,-0.31,10.05,-0.01), (0.715,2.405,13.995,2.575)])
R(fc_ncell1, via, [(1.685,-0.835,1.835,-0.685), (2.415,-0.835,2.565,-0.685), (1.245,-0.235,1.395,-0.085), (2.415,-0.235,2.565,-0.085)])
R(fc_ncell1, met2, [(7.205,-3.04,7.505,2.69), (1.14,-0.91,2.67,-0.61), (1.14,-0.31,2.67,-0.01)])
R(fc_ncell1, hvi, [(0.53,-3.68,14.18,-3.14), (0.38,-3.14,1.37,-2.84), (13.34,-3.14,14.33,-2.84), (0.38,-2.84,1.22,1.92), (13.49,-2.84,14.33,1.92), (0.38,1.92,1.37,2.22), (13.34,1.92,14.33,2.22), (0.53,2.22,14.18,2.76)])
R(fc_ncell1, psdm, [(0.89,-3.62,13.82,-3.45), (0.72,-3.45,13.99,-3.32), (0.59,-3.32,14.12,-3.2), (0.59,-3.2,1.18,-3.07), (13.53,-3.2,14.12,-3.07), (0.59,-3.07,1.01,2.15), (13.7,-3.07,14.12,2.15), (0.59,2.15,1.18,2.28), (13.53,2.15,14.12,2.28), (0.59,2.28,14.12,2.4), (0.72,2.4,13.99,2.53), (0.89,2.53,13.82,2.7)])
fc_ncell1.add(gdstk.Reference(fc_ncell1_half, (7.455,0), rotation=pi, x_reflection=True))
fc_ncell1.add(gdstk.Reference(fc_ncell1_half, (7.455,-0.92), rotation=pi))
fc_ncell1.add(gdstk.Reference(cross_pair, (187.35,9.265), rotation=pi))
fc_ncell1.add(gdstk.Reference(cross_pair, (189.93,9.265), rotation=pi))

fc_ncell = lib.new_cell('fc_ncell')
R(fc_ncell, tap, [(5.715,8.155,13.505,8.33)])
R(fc_ncell, li1, [(5.78,8.09,13.44,8.395)])
R(fc_ncell, met1, [(3.425,6.915,3.725,7.275), (3.865,6.915,4.165,7.275), (11.855,9.255,12.155,11.84)])
R(fc_ncell, via, [(3.5,7.02,3.65,7.17), (3.94,7.02,4.09,7.17), (11.93,9.36,12.08,9.51)])
R(fc_ncell, met2, [(3.425,6.915,3.725,9.285), (3.865,6.915,4.165,8.845), (9.46,8.2,9.76,8.405), (9.46,8.405,12.155,8.705), (11.855,8.705,12.155,9.615), (3.865,8.845,6.595,9.145), (3.425,9.285,6.595,9.585)])
R(fc_ncell, hvi, [(5.53,7.82,13.69,8.34), (5.445,8.34,13.775,8.665), (5.445,8.665,5.53,8.815), (13.69,8.665,13.775,8.815)])
R(fc_ncell, psdm, [(5.59,8.03,13.63,8.455)])
fc_ncell.add(gdstk.Reference(fc_ncell2, (5.76,12.38)))
fc_ncell.add(gdstk.Reference(fc_ncell1, (2.255,5.515)))

opa_folded_cascode = lib.new_cell('opa_folded_cascode')
R(opa_folded_cascode, met1_pin, [(8.555,-42.98,8.855,-42.68), (0.745,-39.865,1.045,-39.565), (1.185,-39.185,1.485,-38.885), (1.625,-39.185,1.925,-38.885), (0.745,-31.6,1.045,-31.3), (8.555,-22.405,8.855,-22.105), (0.745,-6.62,1.045,-6.32), (1.185,6.93,1.485,7.23), (1.625,6.93,1.925,7.23), (0.745,7.175,1.045,7.475), (8.43,26.725,8.73,27.025)])
R(opa_folded_cascode, met1, [(10.325,-49.665,10.925,-43.765), (9.01,-43.765,10.925,-43.365), (8.415,-43.365,10.925,-43.165), (8.415,-43.165,9.015,-27.42), (6.415,-35.73,6.715,-35.12), (6.855,-35.73,7.155,-35.125), (4.645,-35.12,6.715,-34.82), (8.115,-27.42,9.015,-25.895), (8.115,-17.46,9.015,-13.98), (8.415,-13.98,9.015,14.34), (1.625,-0.29,1.92,0.29), (6.715,-0.18,7.155,0.12), (6.855,0.12,7.155,0.73), (1.625,0.29,6.715,0.59), (6.415,0.59,6.715,0.735), (8.165,14.34,9.015,27.19)])
R(opa_folded_cascode, hvi, [(0.005,-35.775,0.09,-35.105), (8.25,-35.775,8.335,-35.105)])
opa_folded_cascode.add(gdstk.Reference(monticelli_top, (0.055,-14.02)))
opa_folded_cascode.add(gdstk.Reference(fc_pcell, (-0.035,14.065)))
opa_folded_cascode.add(gdstk.Reference(fc_ncell, (-5.44,-51.57)))
opa_folded_cascode.add(gdstk.Label('VBS1', (0.895,7.325), layer=68, texttype=5))
opa_folded_cascode.add(gdstk.Label('VBS2', (0.895,-39.715), layer=68, texttype=5))
opa_folded_cascode.add(gdstk.Label('VB1', (0.895,-6.47), layer=68, texttype=5))
opa_folded_cascode.add(gdstk.Label('VB2', (0.895,-31.45), layer=68, texttype=5))
opa_folded_cascode.add(gdstk.Label('I_OPA', (1.775,-39.035), layer=68, texttype=5))
opa_folded_cascode.add(gdstk.Label('I_OPB', (1.335,-39.035), layer=68, texttype=5))
opa_folded_cascode.add(gdstk.Label('I_ONA', (1.775,7.08), layer=68, texttype=5))
opa_folded_cascode.add(gdstk.Label('I_ONB', (1.335,7.08), layer=68, texttype=5))
opa_folded_cascode.add(gdstk.Label('VOUT', (8.705,-22.255), layer=68, texttype=5))
opa_folded_cascode.add(gdstk.Label('VDDA', (8.58,26.875), layer=68, texttype=5))
opa_folded_cascode.add(gdstk.Label('GNDA', (8.705,-42.83), layer=68, texttype=5))

lib.write_gds('opa_folded_cascode.gds')
